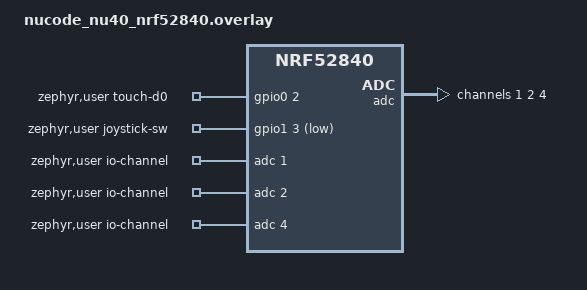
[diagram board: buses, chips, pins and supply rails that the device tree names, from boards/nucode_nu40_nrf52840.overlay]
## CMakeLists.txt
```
cmake_minimum_required(VERSION 3.20.0)

find_package(Zephyr REQUIRED HINTS $ENV{ZEPHYR_BASE})
project(nu40_sensor_monitor)

target_sources(app PRIVATE src/main.c)
```

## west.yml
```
manifest:
  version: "1.2"

  remotes:
    - name: nu87-staging
      url-base: https://github.com/manjae-cho

  projects:
    - name: zephyr
      remote: nu87-staging
      revision: e70694102ad6f910485155a824c5483daf605a9f
      import: true

  self:
    path: micro-wallaby
```

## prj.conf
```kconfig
CONFIG_GPIO=y
CONFIG_I2C=y
CONFIG_ADC=y
CONFIG_PRINTK=y
CONFIG_BT=y
CONFIG_BT_PERIPHERAL=y
CONFIG_BT_DEVICE_NAME="MZSZ-TOY"
CONFIG_BT_MAX_CONN=1
CONFIG_BT_SMP=n
CONFIG_BUILD_OUTPUT_UF2=y
CONFIG_USE_DT_CODE_PARTITION=y
```

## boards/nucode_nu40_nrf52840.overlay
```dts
/*
 * Legacy NU40-DK flash layout detected on this board:
 *   Adafruit nRF52 UF2 0.9.1 + SoftDevice S140 6.1.1
 *
 * The bootloader starts applications at 0x26000. Keep the application below
 * 0xED000, matching the legacy PCA10056-compatible BSP's safe limit.
 */

#include <zephyr/dt-bindings/adc/nrf-saadc.h>

/ {
	zephyr,user {
		touch-d0-gpios = <&gpio0 2 GPIO_ACTIVE_HIGH>;
		joystick-sw-gpios = <&gpio1 3 (GPIO_PULL_UP | GPIO_ACTIVE_LOW)>;
		io-channels = <&adc 1>, <&adc 2>, <&adc 4>;
	};
};

&adc {
	#address-cells = <1>;
	#size-cells = <0>;

	channel@1 {
		reg = <1>;
		zephyr,gain = "ADC_GAIN_1_6";
		zephyr,reference = "ADC_REF_INTERNAL";
		zephyr,acquisition-time = <ADC_ACQ_TIME_DEFAULT>;
		zephyr,input-positive = <NRF_SAADC_AIN1>;
		zephyr,resolution = <12>;
	};

	channel@2 {
		reg = <2>;
		zephyr,gain = "ADC_GAIN_1_6";
		zephyr,reference = "ADC_REF_INTERNAL";
		zephyr,acquisition-time = <ADC_ACQ_TIME_DEFAULT>;
		zephyr,input-positive = <NRF_SAADC_AIN2>;
		zephyr,resolution = <12>;
	};

	channel@4 {
		reg = <4>;
		zephyr,gain = "ADC_GAIN_1_6";
		zephyr,reference = "ADC_REF_INTERNAL";
		zephyr,acquisition-time = <ADC_ACQ_TIME_DEFAULT>;
		zephyr,input-positive = <NRF_SAADC_AIN4>;
		zephyr,resolution = <12>;
	};
};

&flash0 {
	partitions {
		/delete-node/ partition@1000;
		/delete-node/ partition@10000;
		/delete-node/ partition@76000;
		/delete-node/ partition@dc000;

		slot0_partition: partition@26000 {
			compatible = "zephyr,mapped-partition";
			label = "image-0";
			reg = <0x00026000 0x000c7000>;
		};
	};
};
```

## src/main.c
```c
#include <errno.h>
#include <stdint.h>

#include <zephyr/device.h>
#include <zephyr/devicetree.h>
#include <zephyr/bluetooth/bluetooth.h>
#include <zephyr/bluetooth/conn.h>
#include <zephyr/bluetooth/gatt.h>
#include <zephyr/bluetooth/uuid.h>
#include <zephyr/drivers/adc.h>
#include <zephyr/drivers/gpio.h>
#include <zephyr/drivers/i2c.h>
#include <zephyr/kernel.h>
#include <zephyr/sys/byteorder.h>
#include <zephyr/sys/printk.h>

#define TOUCH_NODE DT_PATH(zephyr_user)
#define SAMPLE_INTERVAL_MS 100
#define PRINT_EVERY_SAMPLES 5

#define BT_UUID_HOME_SERVICE_VAL \
	BT_UUID_128_ENCODE(0x7b1e0001, 0x21a8, 0x4f8c, 0xbb2d, 0x4c7d2156f001)
#define BT_UUID_HOME_SENSOR_VAL \
	BT_UUID_128_ENCODE(0x7b1e0002, 0x21a8, 0x4f8c, 0xbb2d, 0x4c7d2156f001)
#define BT_UUID_HOME_COMMAND_VAL \
	BT_UUID_128_ENCODE(0x7b1e0003, 0x21a8, 0x4f8c, 0xbb2d, 0x4c7d2156f001)

static const struct gpio_dt_spec touch_d0 =
	GPIO_DT_SPEC_GET(TOUCH_NODE, touch_d0_gpios);
static const struct adc_dt_spec touch_a0 =
	ADC_DT_SPEC_GET_BY_IDX(TOUCH_NODE, 0);
static const struct adc_dt_spec joystick_x =
	ADC_DT_SPEC_GET_BY_IDX(TOUCH_NODE, 1);
static const struct adc_dt_spec joystick_y =
	ADC_DT_SPEC_GET_BY_IDX(TOUCH_NODE, 2);
static const struct gpio_dt_spec joystick_sw =
	GPIO_DT_SPEC_GET(TOUCH_NODE, joystick_sw_gpios);
static const struct device *const imu_bus = DEVICE_DT_GET(DT_NODELABEL(i2c0));
static const struct gpio_dt_spec house_leds[] = {
	GPIO_DT_SPEC_GET(DT_ALIAS(led0), gpios),
	GPIO_DT_SPEC_GET(DT_ALIAS(led1), gpios),
	GPIO_DT_SPEC_GET(DT_ALIAS(led2), gpios),
	GPIO_DT_SPEC_GET(DT_ALIAS(led3), gpios),
};

struct sensor_packet {
	uint8_t version;
	uint8_t flags;
	uint16_t sequence;
	uint16_t touch_mv;
	uint16_t accel_mg[3];
	uint16_t gyro_centi_dps[3];
	uint8_t joystick_x;
	uint8_t joystick_y;
} __packed;

BUILD_ASSERT(sizeof(struct sensor_packet) == 20,
	     "BLE sensor packet must fit the default ATT payload");

static struct sensor_packet latest_packet = { .version = 2 };
static bool notifications_enabled;

static const struct bt_uuid_128 home_service_uuid =
	BT_UUID_INIT_128(BT_UUID_HOME_SERVICE_VAL);
static const struct bt_uuid_128 home_sensor_uuid =
	BT_UUID_INIT_128(BT_UUID_HOME_SENSOR_VAL);
static const struct bt_uuid_128 home_command_uuid =
	BT_UUID_INIT_128(BT_UUID_HOME_COMMAND_VAL);

static ssize_t read_sensor_packet(struct bt_conn *conn,
				  const struct bt_gatt_attr *attr, void *buf,
				  uint16_t len, uint16_t offset)
{
	return bt_gatt_attr_read(conn, attr, buf, len, offset, &latest_packet,
				 sizeof(latest_packet));
}

static ssize_t write_house_command(struct bt_conn *conn,
				   const struct bt_gatt_attr *attr,
				   const void *buf, uint16_t len,
				   uint16_t offset, uint8_t flags)
{
	const uint8_t *command = buf;

	if (offset != 0) {
		return BT_GATT_ERR(BT_ATT_ERR_INVALID_OFFSET);
	}
	if (len != 3) {
		return BT_GATT_ERR(BT_ATT_ERR_INVALID_ATTRIBUTE_LEN);
	}
	if (command[0] != 0x01 || command[1] >= ARRAY_SIZE(house_leds) ||
	    command[2] > 1) {
		return BT_GATT_ERR(BT_ATT_ERR_VALUE_NOT_ALLOWED);
	}

	gpio_pin_set_dt(&house_leds[command[1]], command[2]);
	printk("HOUSE room=%u state=%u\n", command[1], command[2]);
	return len;
}

static void sensor_ccc_changed(const struct bt_gatt_attr *attr, uint16_t value)
{
	notifications_enabled = value == BT_GATT_CCC_NOTIFY;
	printk("BLE sensor notifications: %s\n",
	       notifications_enabled ? "ON" : "OFF");
}

BT_GATT_SERVICE_DEFINE(home_service,
	BT_GATT_PRIMARY_SERVICE(&home_service_uuid),
	BT_GATT_CHARACTERISTIC(&home_sensor_uuid.uuid,
			       BT_GATT_CHRC_READ | BT_GATT_CHRC_NOTIFY,
			       BT_GATT_PERM_READ, read_sensor_packet, NULL,
			       &latest_packet),
	BT_GATT_CCC(sensor_ccc_changed,
		    BT_GATT_PERM_READ | BT_GATT_PERM_WRITE),
	BT_GATT_CHARACTERISTIC(&home_command_uuid.uuid,
			       BT_GATT_CHRC_WRITE |
			       BT_GATT_CHRC_WRITE_WITHOUT_RESP,
			       BT_GATT_PERM_WRITE, NULL, write_house_command, NULL),
);

static const struct bt_data advertising_data[] = {
	BT_DATA_BYTES(BT_DATA_FLAGS, BT_LE_AD_GENERAL | BT_LE_AD_NO_BREDR),
	BT_DATA_BYTES(BT_DATA_UUID128_ALL, BT_UUID_HOME_SERVICE_VAL),
};

static const struct bt_data scan_response_data[] = {
	BT_DATA(BT_DATA_NAME_COMPLETE, CONFIG_BT_DEVICE_NAME,
		sizeof(CONFIG_BT_DEVICE_NAME) - 1),
};

static int start_advertising(void)
{
	return bt_le_adv_start(BT_LE_ADV_CONN_FAST_1,
			       advertising_data, ARRAY_SIZE(advertising_data),
			       scan_response_data, ARRAY_SIZE(scan_response_data));
}

static void connected(struct bt_conn *conn, uint8_t err)
{
	if (err == 0) {
		printk("BLE connected\n");
	} else {
		printk("BLE connection failed: %u\n", err);
	}
}

static void disconnected(struct bt_conn *conn, uint8_t reason)
{
	int ret;

	notifications_enabled = false;
	printk("BLE disconnected: %u\n", reason);
	ret = start_advertising();
	if (ret == 0 || ret == -EALREADY) {
		printk("BLE advertising restarted: %s\n", CONFIG_BT_DEVICE_NAME);
	} else {
		printk("BLE advertising restart failed: %d\n", ret);
	}
}

BT_CONN_CB_DEFINE(connection_callbacks) = {
	.connected = connected,
	.disconnected = disconnected,
};

static int initialize_bluetooth(void)
{
	int ret = bt_enable(NULL);

	if (ret != 0) {
		return ret;
	}

	return start_advertising();
}

enum imu_kind {
	IMU_NONE,
	IMU_MPU6XXX,
	IMU_LSM6DS3TR,
};

struct imu_device {
	enum imu_kind kind;
	uint8_t address;
	uint8_t who_am_i;
};

static int16_t be16(const uint8_t *data)
{
	return (int16_t)(((uint16_t)data[0] << 8) | data[1]);
}

static int16_t le16(const uint8_t *data)
{
	return (int16_t)(((uint16_t)data[1] << 8) | data[0]);
}

static int i2c_read_register(uint8_t address, uint8_t reg, uint8_t *value)
{
	return i2c_write_read(imu_bus, address, &reg, sizeof(reg), value, 1);
}

static void scan_i2c_bus(void)
{
	uint8_t value;
	bool found = false;

	printk("I2C scan (SDA=P0.26, SCL=P0.27):");
	for (uint8_t address = 0x08; address <= 0x77; address++) {
		if (i2c_read(imu_bus, &value, 1, address) == 0) {
			printk(" 0x%02x", address);
			found = true;
		}
	}
	printk(found ? "\n" : " no devices\n");
}

static struct imu_device detect_imu(void)
{
	static const uint8_t mpu_ids[] = {
		0x12, /* ICM-20602 */
		0x68, /* MPU-6050 */
		0x70, /* MPU-6500 */
		0x71, /* MPU-9250 */
		0x73, /* MPU-9255 */
		0x98, /* ICM-20689 */
	};
	struct imu_device imu = { 0 };

	for (uint8_t address = 0x68; address <= 0x69; address++) {
		uint8_t who_am_i;

		if (i2c_read_register(address, 0x75, &who_am_i) != 0) {
			continue;
		}

		printk("IMU probe: address=0x%02x WHO_AM_I(0x75)=0x%02x\n",
		       address, who_am_i);

		for (size_t i = 0; i < ARRAY_SIZE(mpu_ids); i++) {
			if (who_am_i == mpu_ids[i]) {
				imu.kind = IMU_MPU6XXX;
				imu.address = address;
				imu.who_am_i = who_am_i;
				return imu;
			}
		}
	}

	for (uint8_t address = 0x6a; address <= 0x6b; address++) {
		uint8_t who_am_i;

		if (i2c_read_register(address, 0x0f, &who_am_i) != 0) {
			continue;
		}

		printk("IMU probe: address=0x%02x WHO_AM_I(0x0f)=0x%02x\n",
		       address, who_am_i);
		if (who_am_i == 0x6a) {
			imu.kind = IMU_LSM6DS3TR;
			imu.address = address;
			imu.who_am_i = who_am_i;
			return imu;
		}
	}

	/* Print common alternate identification registers for diagnosis. */
	for (uint8_t address = 0x08; address <= 0x77; address++) {
		uint8_t chip_id = 0xff;
		uint8_t who_am_i = 0xff;

		if (i2c_read_register(address, 0x00, &chip_id) == 0 ||
		    i2c_read_register(address, 0x0f, &who_am_i) == 0) {
			printk("Unknown I2C device: 0x%02x ID00=0x%02x ID0F=0x%02x\n",
			       address, chip_id, who_am_i);
		}
	}

	return imu;
}

static int initialize_mpu6xxx(const struct imu_device *imu)
{
	int ret;

	/* Wake up, use the gyro PLL, and select +/-2 g and +/-250 dps. */
	ret = i2c_reg_write_byte(imu_bus, imu->address, 0x6b, 0x01);
	if (ret != 0) {
		return ret;
	}
	k_msleep(100);

	ret = i2c_reg_write_byte(imu_bus, imu->address, 0x1a, 0x03);
	ret |= i2c_reg_write_byte(imu_bus, imu->address, 0x19, 0x09);
	ret |= i2c_reg_write_byte(imu_bus, imu->address, 0x1b, 0x00);
	ret |= i2c_reg_write_byte(imu_bus, imu->address, 0x1c, 0x00);
	return ret;
}

static int read_mpu6xxx(const struct imu_device *imu, int32_t accel_mg[3],
			int32_t gyro_mdps[3])
{
	uint8_t start_reg = 0x3b;
	uint8_t data[14];
	int ret;

	ret = i2c_write_read(imu_bus, imu->address, &start_reg, sizeof(start_reg),
			     data, sizeof(data));
	if (ret != 0) {
		return ret;
	}

	/* +/-2 g: 16384 LSB/g. +/-250 dps: 131 LSB/(degree/s). */
	accel_mg[0] = ((int32_t)be16(&data[0]) * 1000) / 16384;
	accel_mg[1] = ((int32_t)be16(&data[2]) * 1000) / 16384;
	accel_mg[2] = ((int32_t)be16(&data[4]) * 1000) / 16384;
	gyro_mdps[0] = ((int32_t)be16(&data[8]) * 1000) / 131;
	gyro_mdps[1] = ((int32_t)be16(&data[10]) * 1000) / 131;
	gyro_mdps[2] = ((int32_t)be16(&data[12]) * 1000) / 131;
	return 0;
}

static int initialize_lsm6ds3tr(const struct imu_device *imu)
{
	int ret;

	/* Block data updates and auto-increment multi-byte register reads. */
	ret = i2c_reg_write_byte(imu_bus, imu->address, 0x12, 0x44);
	/* Accelerometer: 104 Hz, +/-2 g. Gyroscope: 104 Hz, +/-245 dps. */
	ret |= i2c_reg_write_byte(imu_bus, imu->address, 0x10, 0x40);
	ret |= i2c_reg_write_byte(imu_bus, imu->address, 0x11, 0x40);
	k_msleep(100);
	return ret;
}

static int read_lsm6ds3tr(const struct imu_device *imu, int32_t accel_mg[3],
			  int32_t gyro_mdps[3])
{
	uint8_t start_reg = 0x22;
	uint8_t data[12];
	int ret;

	ret = i2c_write_read(imu_bus, imu->address, &start_reg, sizeof(start_reg),
			     data, sizeof(data));
	if (ret != 0) {
		return ret;
	}

	/* OUTX_L_G..OUTZ_H_G, then OUTX_L_XL..OUTZ_H_XL. */
	for (size_t axis = 0; axis < 3; axis++) {
		/* +/-2 g sensitivity: 0.061 mg/LSB. */
		accel_mg[axis] = ((int32_t)le16(&data[6 + axis * 2]) * 61) / 1000;
		/* +/-245 dps sensitivity: 8.75 mdps/LSB. */
		gyro_mdps[axis] = ((int32_t)le16(&data[axis * 2]) * 875) / 100;
	}

	return 0;
}

static uint8_t adc_raw_to_u8(int16_t raw)
{
	return (uint8_t)CLAMP(((int32_t)raw * UINT8_MAX) / 4095,
			      0, UINT8_MAX);
}

int main(void)
{
	struct adc_sequence touch_sequence = { 0 };
	struct adc_sequence joystick_x_sequence = { 0 };
	struct adc_sequence joystick_y_sequence = { 0 };
	struct imu_device imu;
	int16_t touch_raw = 0;
	int16_t joystick_x_raw = 0;
	int16_t joystick_y_raw = 0;
	uint16_t packet_sequence = 0;
	uint8_t print_counter = 0;
	int ret;

	k_msleep(1000);
	printk("\nNU40-DK BLE sensor game remote\n");
	printk("Touch: D0=P0.02, A0=P0.03/AIN1, interval=%d ms\n",
	       SAMPLE_INTERVAL_MS);
	printk("Joystick: X=P0.04/AIN2, Y=P0.28/AIN4, SW=P1.03\n");

	if (!gpio_is_ready_dt(&touch_d0) || !adc_is_ready_dt(&touch_a0) ||
	    !adc_is_ready_dt(&joystick_x) || !adc_is_ready_dt(&joystick_y) ||
	    !gpio_is_ready_dt(&joystick_sw)) {
		printk("ERROR: touch or joystick GPIO/ADC is not ready\n");
		return -ENODEV;
	}

	ret = gpio_pin_configure_dt(&touch_d0, GPIO_INPUT);
	ret |= gpio_pin_configure_dt(&joystick_sw, GPIO_INPUT);
	ret |= adc_channel_setup_dt(&touch_a0);
	ret |= adc_channel_setup_dt(&joystick_x);
	ret |= adc_channel_setup_dt(&joystick_y);
	ret |= adc_sequence_init_dt(&touch_a0, &touch_sequence);
	ret |= adc_sequence_init_dt(&joystick_x, &joystick_x_sequence);
	ret |= adc_sequence_init_dt(&joystick_y, &joystick_y_sequence);
	if (ret != 0) {
		printk("ERROR: touch or joystick input setup failed (%d)\n", ret);
		return ret;
	}

	if (!device_is_ready(imu_bus)) {
		printk("ERROR: I2C0 is not ready\n");
		return -ENODEV;
	}

	for (size_t i = 0; i < ARRAY_SIZE(house_leds); i++) {
		if (!gpio_is_ready_dt(&house_leds[i]) ||
		    gpio_pin_configure_dt(&house_leds[i], GPIO_OUTPUT_INACTIVE) != 0) {
			printk("ERROR: house LED %u is not ready\n", i);
			return -ENODEV;
		}
	}

	scan_i2c_bus();
	imu = detect_imu();
	if (imu.kind == IMU_MPU6XXX) {
		ret = initialize_mpu6xxx(&imu);
		printk("IMU: MPU6xxx-compatible at 0x%02x, init=%s\n",
		       imu.address, ret == 0 ? "OK" : "FAILED");
	} else if (imu.kind == IMU_LSM6DS3TR) {
		ret = initialize_lsm6ds3tr(&imu);
		printk("IMU: LSM6DS3TR at 0x%02x, init=%s\n",
		       imu.address, ret == 0 ? "OK" : "FAILED");
	} else {
		printk("IMU: no supported device; touch monitoring continues\n");
	}

	ret = initialize_bluetooth();
	if (ret == 0) {
		printk("BLE advertising: %s\n", CONFIG_BT_DEVICE_NAME);
	} else {
		printk("ERROR: BLE initialization failed (%d)\n", ret);
	}

	printk("Columns: time_ms touch_D0 touch_ADC touch_mV "
	       "joy_X joy_Y joy_SW accel_mg[x,y,z] gyro_mdps[x,y,z]\n");

	while (true) {
		int32_t touch_mv;
		int touch_digital;
		int joystick_pressed;
		int touch_ret;
		int joystick_x_ret;
		int joystick_y_ret;
		int32_t accel_mg[3] = { 0 };
		int32_t gyro_mdps[3] = { 0 };
		int imu_ret = -ENODEV;

		touch_digital = gpio_pin_get_dt(&touch_d0);
		joystick_pressed = gpio_pin_get_dt(&joystick_sw);

		touch_sequence.buffer = &touch_raw;
		touch_sequence.buffer_size = sizeof(touch_raw);
		touch_ret = adc_read_dt(&touch_a0, &touch_sequence);
		touch_mv = touch_raw;
		if (touch_ret == 0) {
			touch_ret = adc_raw_to_millivolts_dt(&touch_a0, &touch_mv);
		}

		joystick_x_sequence.buffer = &joystick_x_raw;
		joystick_x_sequence.buffer_size = sizeof(joystick_x_raw);
		joystick_x_ret = adc_read_dt(&joystick_x, &joystick_x_sequence);
		joystick_y_sequence.buffer = &joystick_y_raw;
		joystick_y_sequence.buffer_size = sizeof(joystick_y_raw);
		joystick_y_ret = adc_read_dt(&joystick_y, &joystick_y_sequence);

		if (imu.kind == IMU_MPU6XXX) {
			imu_ret = read_mpu6xxx(&imu, accel_mg, gyro_mdps);
		} else if (imu.kind == IMU_LSM6DS3TR) {
			imu_ret = read_lsm6ds3tr(&imu, accel_mg, gyro_mdps);
		}

		if (imu_ret == 0) {
			latest_packet.version = 2;
			latest_packet.flags = (touch_digital > 0 ? BIT(0) : 0) |
					      (joystick_pressed > 0 ? BIT(1) : 0);
			latest_packet.sequence = sys_cpu_to_le16(++packet_sequence);
			latest_packet.touch_mv =
				sys_cpu_to_le16((uint16_t)CLAMP(touch_mv, 0, UINT16_MAX));
			for (size_t axis = 0; axis < 3; axis++) {
				latest_packet.accel_mg[axis] =
					sys_cpu_to_le16((uint16_t)CLAMP(accel_mg[axis],
								    INT16_MIN, INT16_MAX));
				latest_packet.gyro_centi_dps[axis] =
					sys_cpu_to_le16((uint16_t)CLAMP(gyro_mdps[axis] / 10,
								    INT16_MIN, INT16_MAX));
			}
			latest_packet.joystick_x = joystick_x_ret == 0 ?
				adc_raw_to_u8(joystick_x_raw) : 127;
			latest_packet.joystick_y = joystick_y_ret == 0 ?
				adc_raw_to_u8(joystick_y_raw) : 127;

			if (notifications_enabled) {
				bt_gatt_notify(NULL, &home_service.attrs[2],
					       &latest_packet, sizeof(latest_packet));
			}
		}

		if (++print_counter >= PRINT_EVERY_SAMPLES) {
			print_counter = 0;
			printk("DATA %lld D0=%d ADC=%d mV=",
			       k_uptime_get(), touch_digital, touch_raw);
			if (touch_ret == 0) {
				printk("%d", touch_mv);
			} else {
				printk("ERR(%d)", touch_ret);
			}
			printk(" JX=");
			if (joystick_x_ret == 0) {
				printk("%d", joystick_x_raw);
			} else {
				printk("ERR(%d)", joystick_x_ret);
			}
			printk(" JY=");
			if (joystick_y_ret == 0) {
				printk("%d", joystick_y_raw);
			} else {
				printk("ERR(%d)", joystick_y_ret);
			}
			printk(" JSW=%d", joystick_pressed);
			if (imu_ret == 0) {
				printk(" AX=%d AY=%d AZ=%d GX=%d GY=%d GZ=%d",
				       accel_mg[0], accel_mg[1], accel_mg[2],
				       gyro_mdps[0], gyro_mdps[1], gyro_mdps[2]);
			} else {
				printk(" IMU=unavailable");
			}
			printk("\n");
		}

		k_msleep(SAMPLE_INTERVAL_MS);
	}

	return 0;
}
```
